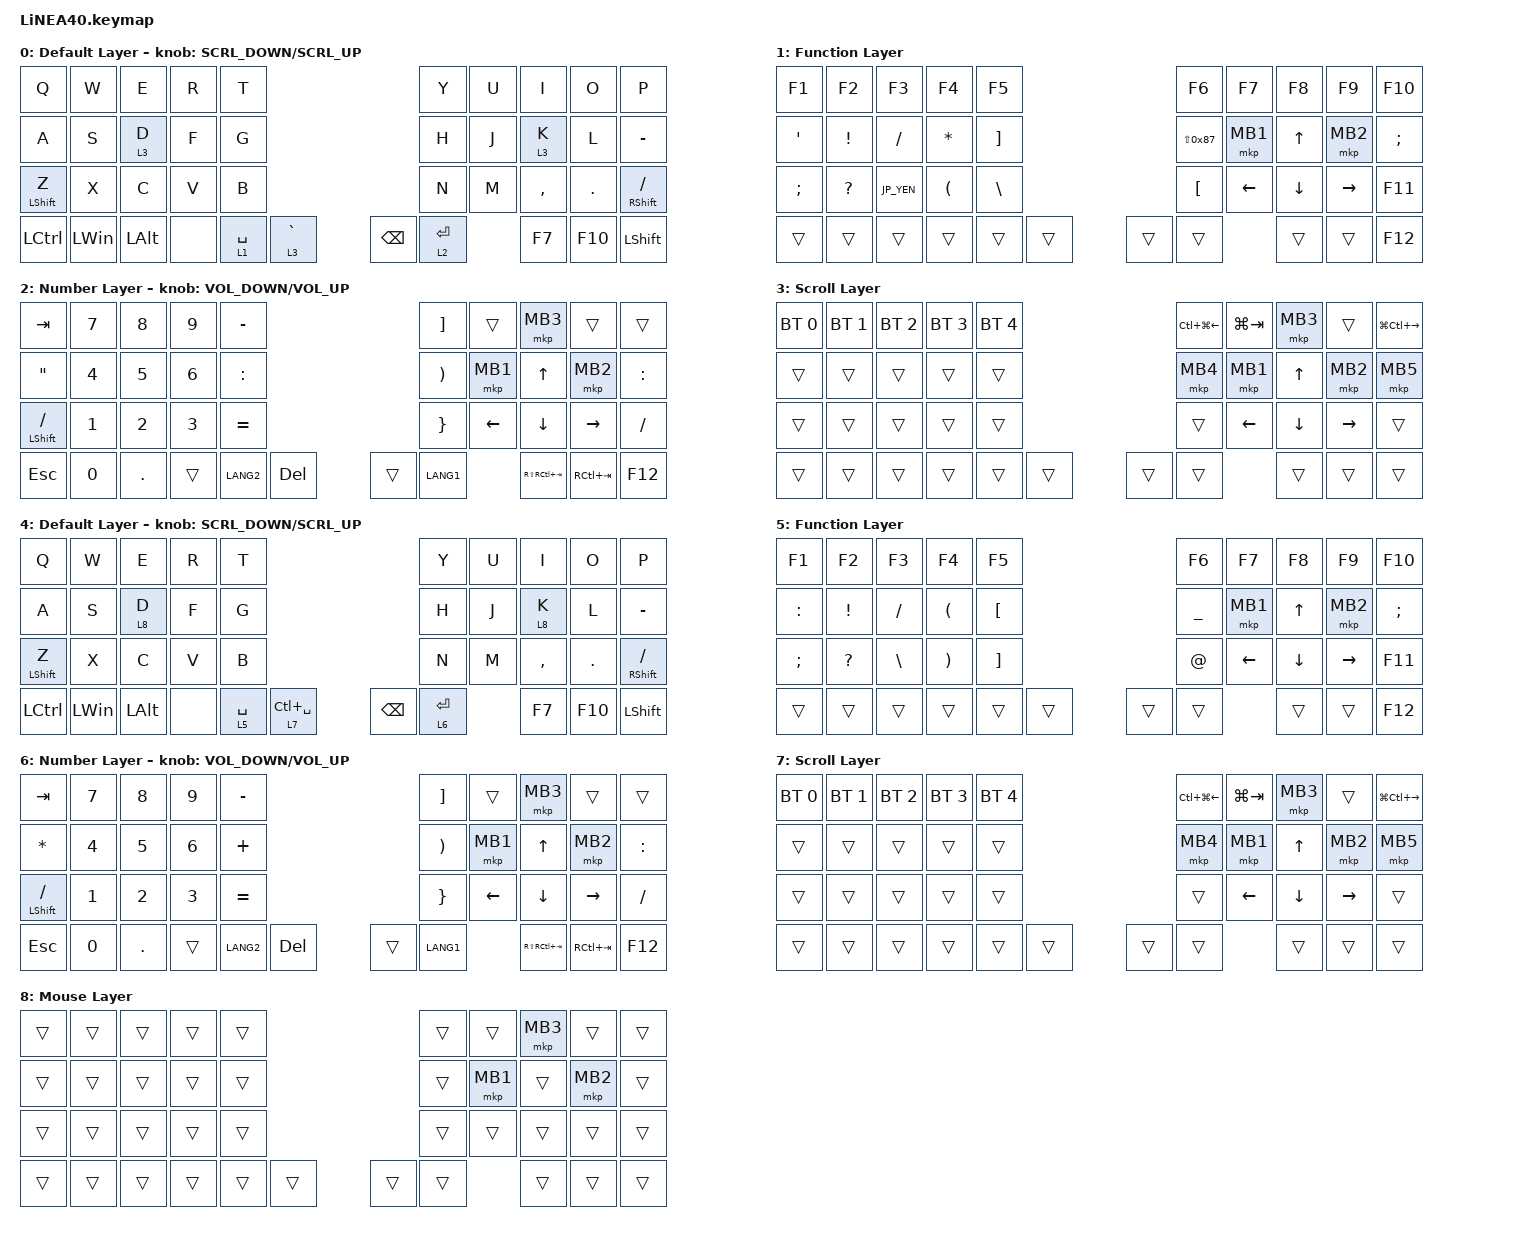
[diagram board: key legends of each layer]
#define ZMK_POINTING_DEFAULT_SCRL_VAL 150

#include <dt-bindings/zmk/input_transform.h>
#include <input/processors.dtsi>
#include <zephyr/dt-bindings/input/input-event-codes.h>
#include <behaviors.dtsi>
#include <dt-bindings/zmk/bt.h>
#include <dt-bindings/zmk/keys.h>
#include <dt-bindings/zmk/pointing.h>

#define MOUSE 1
#define MARK 2
#define CURSOR 3
#define FUNCTION 4
#define SCROLL 5
#define WIRELESS 6

// OS設定を日本語キーボードのまま使用するための変換定義

#define JP_DQUOTE       AT                // "
#define JP_AMPERSAND    CARET             // &
#define JP_QUOTE        AMPERSAND         // '
#define JP_EQUAL        UNDER             // =
#define JP_CARET        EQUAL             // ^
#define JP_YEN          0x89              // ¥
#define JP_PLUS         COLON             // +
#define JP_TILDE        PLUS              // ~
#define JP_PIPE         LS(0x89)          // |
#define JP_AT           LEFT_BRACKET      // @
#define JP_COLON        SINGLE_QUOTE      // :
#define JP_ASTERISK     DOUBLE_QUOTES     // *
#define JP_BACKQUOTE    LEFT_BRACE        // `
#define JP_UNDERSCORE   LS(0x87)          // _
#define JP_LBRACKET     RIGHT_BRACKET     // [
#define JP_RBRACKET     BACKSLASH         // ]
#define JP_LPAREN       ASTERISK          // (
#define JP_RPAREN       LEFT_PARENTHESIS  // )
#define JP_LBRACE       RIGHT_BRACE       // {
#define JP_RBRACE       PIPE              // }
#define JP_KANA         LANGUAGE_1        // かな
#define JP_EISU         LANGUAGE_2        // 英数
#define JP_HANZEN       GRAVE             // 半角/全角

//mouse cursol

&mmv {
    delay-ms = <20>;
    trigger-period-ms = <5>;
    time-to-max-speed-ms = <100>;
    acceleration-exponent = <2>;
};

//mouse scroll

&msc {
    delay-ms = <3>;
    trigger-period-ms = <3>;
    time-to-max-speed-ms = <100>;
    acceleration-exponent = <0>;
};

/ {
    input_processors {
        zip_wheel_scaler: zip_wheel_scaler {
            compatible = "zmk,input-processor-scaler";
            #input-processor-cells = <2>;
            type = <INPUT_EV_REL>;
            codes = <INPUT_REL_WHEEL>;
            track-remainders;
        };
    };
};

&msc_input_listener {
    speed_up {
        layers = <FUNCTION>;
        input-processors = <&zip_wheel_scaler 3 1>; //スクロールを3倍速にする
    };
};

&trackball_listener {
    scroller {
        layers = <SCROLL>;
        input-processors =
            <&zip_xy_transform INPUT_TRANSFORM_Y_INVERT>,
            //スクロール方向を逆転
            <&zip_xy_to_scroll_mapper>;
    };
};

/ {
    combos {
        compatible = "zmk,combos";


        tab {
            bindings = <&kp TAB>;
            key-positions = <11 12>;
            layers = <0>;
        };

        stab {
            bindings = <&kp LS(TAB)>;
            key-positions = <12 13>;
        };

        btreset {
            bindings = <&bt BT_CLR>;
            key-positions = <0 4>;
            layers = <3>;
        };

        boot {
            bindings = <&bootloader>;
            key-positions = <1 2 3>;
            layers = <3>;
        };

        dq {
            bindings = <&kp DQT>;
            key-positions = <18 17>;
        };

        to_ios {
            bindings = <&to 4>;
            key-positions = <30 41>;
            layers = <0>;
        };

        to_win {
            bindings = <&to 0>;
            key-positions = <30 41>;
            layers = <4>;
        };

        ex {
            bindings = <&none>;
            key-positions = <7 16 18 30 20 41>;
        };
    };

    behaviors {
        re_kp: sensor_rotate_kp {
            compatible = "zmk,behavior-sensor-rotate-var";
            #sensor-binding-cells = <2>;
            bindings = <&kp>, <&kp>;
        };

        mouse_scrl: mouse_wheel_scrl {
            compatible = "zmk,behavior-sensor-rotate-var";
            #sensor-binding-cells = <2>;
            bindings = <&msc>, <&msc>;

            tap-ms = <20>;
        };
    };

    keymap {
        compatible = "zmk,keymap";

        default_layer {
            display-name = "Default Layer";
            bindings = <
&kp Q             &kp W         &kp E         &kp R  &kp T                                      &kp Y        &kp U  &kp I      &kp O    &kp P
&kp A             &kp S         &lt 3 D       &kp F  &kp G                                      &kp H        &kp J  &lt 3 K    &kp L    &kp MINUS
&mt LEFT_SHIFT Z  &kp X         &kp C         &kp V  &kp B                                      &kp N        &kp M  &kp COMMA  &kp DOT  &mt RIGHT_SHIFT SLASH
&kp LCTRL         &kp LEFT_WIN  &kp LEFT_ALT  &none  &lt 1 SPACE  &lt 3 GRAVE    &kp BACKSPACE  &lt 2 ENTER         &kp F7     &kp F10  &kp LEFT_SHIFT
            >;

            sensor-bindings = <&mouse_scrl SCRL_DOWN SCRL_UP>;
        };

        Function {
            display-name = "Function Layer";
            bindings = <
&kp F1         &kp F2           &kp F3      &kp F4         &kp F5                             &kp F6             &kp F7    &kp F8    &kp F9     &kp F10
&kp JP_COLON   &kp EXCLAMATION  &kp SLASH   &kp JP_LPAREN  &kp JP_LBRACKET                    &kp JP_UNDERSCORE  &mkp MB1  &kp UP    &mkp MB2   &kp SEMICOLON
&kp SEMICOLON  &kp QUESTION     &kp JP_YEN  &kp JP_RPAREN  &kp JP_RBRACKET                    &kp JP_AT          &kp LEFT  &kp DOWN  &kp RIGHT  &kp F11
&trans         &trans           &trans      &trans         &trans           &trans    &trans  &trans                       &trans    &trans     &kp F12
            >;
        };

        Number {
            display-name = "Number Layer";
            bindings = <
&kp TAB               &kp N7        &kp N8        &kp N9        &kp MINUS                       &kp RIGHT_BRACKET  &trans    &mkp MB3         &trans       &trans
&kp JP_ASTERISK       &kp NUMBER_4  &kp N5        &kp NUMBER_6  &kp JP_PLUS                     &kp RPAR           &mkp MB1  &kp UP           &mkp MB2     &kp COLON
&mt LEFT_SHIFT SLASH  &kp NUMBER_1  &kp NUMBER_2  &kp NUMBER_3  &kp EQUAL                       &kp RIGHT_BRACE    &kp LEFT  &kp DOWN         &kp RIGHT    &kp SLASH
&kp ESCAPE            &kp N0        &kp PERIOD    &trans        &kp LANG2    &kp DEL    &trans  &kp LANG1                    &kp RS(RC(TAB))  &kp RC(TAB)  &kp F12
            >;

            sensor-bindings = <&re_kp C_VOLUME_DOWN C_VOLUME_UP>;
        };

        Scroll {
            display-name = "Scroll Layer";
            bindings = <
&bt BT_SEL 0  &bt BT_SEL 1  &bt BT_SEL 2  &bt BT_SEL 3  &bt BT_SEL 4                    &kp LC(LG(LEFT))  &kp LG(TAB)  &mkp MB3  &trans     &kp LG(LC(RIGHT))
&trans        &trans        &trans        &trans        &trans                          &mkp MB4          &mkp MB1     &kp UP    &mkp MB2   &mkp MB5
&trans        &trans        &trans        &trans        &trans                          &trans            &kp LEFT     &kp DOWN  &kp RIGHT  &trans
&trans        &trans        &trans        &trans        &trans        &trans    &trans  &trans                         &trans    &trans     &trans
            >;
        };

        iOS_default_layer {
            display-name = "Default Layer";
            bindings = <
&kp Q             &kp W         &kp E         &kp R  &kp T                                          &kp Y        &kp U  &kp I      &kp O    &kp P
&kp A             &kp S         &lt 8 D       &kp F  &kp G                                          &kp H        &kp J  &lt 8 K    &kp L    &kp MINUS
&mt LEFT_SHIFT Z  &kp X         &kp C         &kp V  &kp B                                          &kp N        &kp M  &kp COMMA  &kp DOT  &mt RIGHT_SHIFT SLASH
&kp LCTRL         &kp LEFT_WIN  &kp LEFT_ALT  &none  &lt 5 SPACE  &lt 7 LC(SPACE)    &kp BACKSPACE  &lt 6 ENTER         &kp F7     &kp F10  &kp LEFT_SHIFT
            >;

            sensor-bindings = <&mouse_scrl  SCRL_DOWN SCRL_UP>;
        };

        iOS_Function {
            display-name = "Function Layer";
            bindings = <
&kp F1         &kp F2           &kp F3         &kp F4                 &kp F5                               &kp F6          &kp F7    &kp F8    &kp F9     &kp F10
&kp COLON      &kp EXCLAMATION  &kp SLASH      &kp LEFT_PARENTHESIS   &kp LEFT_BRACKET                     &kp UNDERSCORE  &mkp MB1  &kp UP    &mkp MB2   &kp SEMICOLON
&kp SEMICOLON  &kp QUESTION     &kp BACKSLASH  &kp RIGHT_PARENTHESIS  &kp RIGHT_BRACKET                    &kp AT_SIGN     &kp LEFT  &kp DOWN  &kp RIGHT  &kp F11
&trans         &trans           &trans         &trans                 &trans             &trans    &trans  &trans                    &trans    &trans     &kp F12
            >;
        };

        iOS_Number {
            display-name = "Number Layer";
            bindings = <
&kp TAB               &kp N7        &kp N8        &kp N9        &kp MINUS                     &kp RIGHT_BRACKET  &trans    &mkp MB3         &trans       &trans
&kp ASTERISK          &kp NUMBER_4  &kp N5        &kp NUMBER_6  &kp PLUS                      &kp RPAR           &mkp MB1  &kp UP           &mkp MB2     &kp COLON
&mt LEFT_SHIFT SLASH  &kp NUMBER_1  &kp NUMBER_2  &kp NUMBER_3  &kp EQUAL                     &kp RIGHT_BRACE    &kp LEFT  &kp DOWN         &kp RIGHT    &kp SLASH
&kp ESCAPE            &kp N0        &kp PERIOD    &trans        &kp LANG2  &kp DEL    &trans  &kp LANG1                    &kp RS(RC(TAB))  &kp RC(TAB)  &kp F12
            >;

            sensor-bindings = <&re_kp C_VOLUME_DOWN C_VOLUME_UP>;
        };

        iOS_Scroll {
            display-name = "Scroll Layer";
            bindings = <
&bt BT_SEL 0  &bt BT_SEL 1  &bt BT_SEL 2  &bt BT_SEL 3  &bt BT_SEL 4                    &kp LC(LG(LEFT))  &kp LG(TAB)  &mkp MB3  &trans     &kp LG(LC(RIGHT))
&trans        &trans        &trans        &trans        &trans                          &mkp MB4          &mkp MB1     &kp UP    &mkp MB2   &mkp MB5
&trans        &trans        &trans        &trans        &trans                          &trans            &kp LEFT     &kp DOWN  &kp RIGHT  &trans
&trans        &trans        &trans        &trans        &trans        &trans    &trans  &trans                         &trans    &trans     &trans
            >;
        };

        Mouse {
            display-name = "Mouse Layer";
            bindings = <
&trans  &trans  &trans  &trans  &trans                    &trans  &trans    &mkp MB3  &trans    &trans
&trans  &trans  &trans  &trans  &trans                    &trans  &mkp MB1  &trans    &mkp MB2  &trans
&trans  &trans  &trans  &trans  &trans                    &trans  &trans    &trans    &trans    &trans
&trans  &trans  &trans  &trans  &trans  &trans    &trans  &trans            &trans    &trans    &trans
            >;
        };
    };
};
